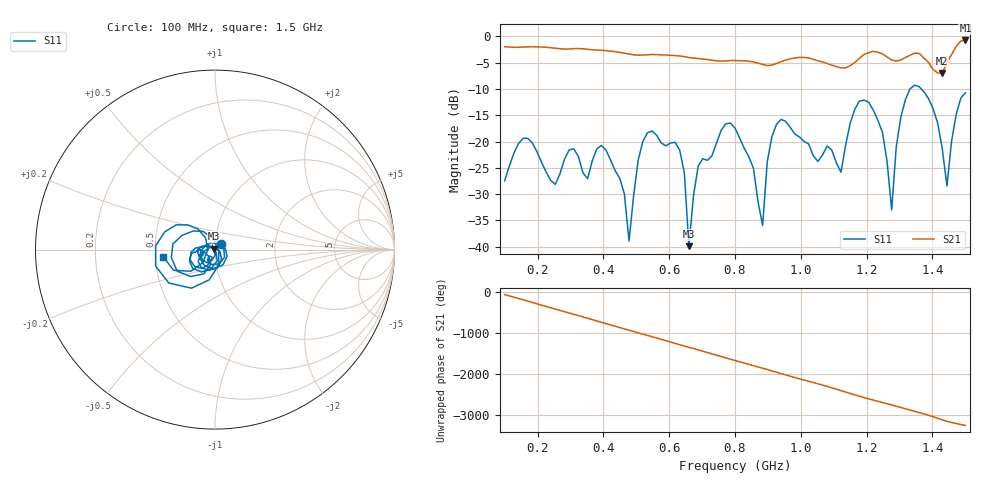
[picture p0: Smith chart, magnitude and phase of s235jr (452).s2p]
! NanoVNA-App
! Date: 2025-09-25 15:07:41
! Start: 100MHz Stop: 1,5GHz Points: 101
! S-Parameter data: F S11 S21 S12 S22
# Hz S RI R 50
!  Frequency  S11_Real  S11_Imag  S21_Real  S21_Imag  S12_Real  S12_Imag  S22_Real  S22_Imag
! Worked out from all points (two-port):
!   101 points, 100 MHz to 1.5 GHz, reference 50 ohm
!   highest |S21| = -0.78 dB at 1.5 GHz (marker M1); lowest = -7.0 dB at 1.43 GHz (marker M2)
!   |S21| within 3 dB of the highest: start of sweep to 637.3 MHz; 1.186 GHz to 1.259 GHz (73.08 MHz wide, 5.98 % of centre) (the widest 2 of 4)
!   lowest |S11| = -39.9 dB at 660 MHz (marker M3), VSWR 1.02, Z = 49.2 + j0.578 ohm
!   |S11| at or under -10 dB: start of sweep to 1.332 GHz; 1.366 GHz to end of sweep
!   S12 and S22 are empty: the file has one direction only
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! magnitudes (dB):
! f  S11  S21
! 100 MHz  -27.5  -2.0
! 156 MHz  -19.4  -2.0
! 338 MHz  -25.9  -2.4
! 408 MHz  -21.6  -2.7
! 478 MHz  -38.9  -3.4
! 520 MHz  -20.0  -3.6
! 576 MHz  -20.3  -3.5
! 632 MHz  -21.6  -3.7
! 660 MHz  -39.9  -4.0
! 688 MHz  -24.7  -4.2
! 800 MHz  -17.5  -4.6
! 884 MHz  -36.0  -5.3
! 926 MHz  -16.7  -5.2
! 1.038 GHz  -22.7  -4.4
! 1.122 GHz  -25.8  -6.0
! 1.206 GHz  -12.5  -3.1
! 1.248 GHz  -18.3  -3.3
! 1.276 GHz  -33.0  -4.5
! 1.332 GHz  -10.0  -3.6
! 1.43 GHz  -21.5  -7.0
! 1.444 GHz  -28.5  -5.0
! 1.5 GHz  -10.7  -0.8
